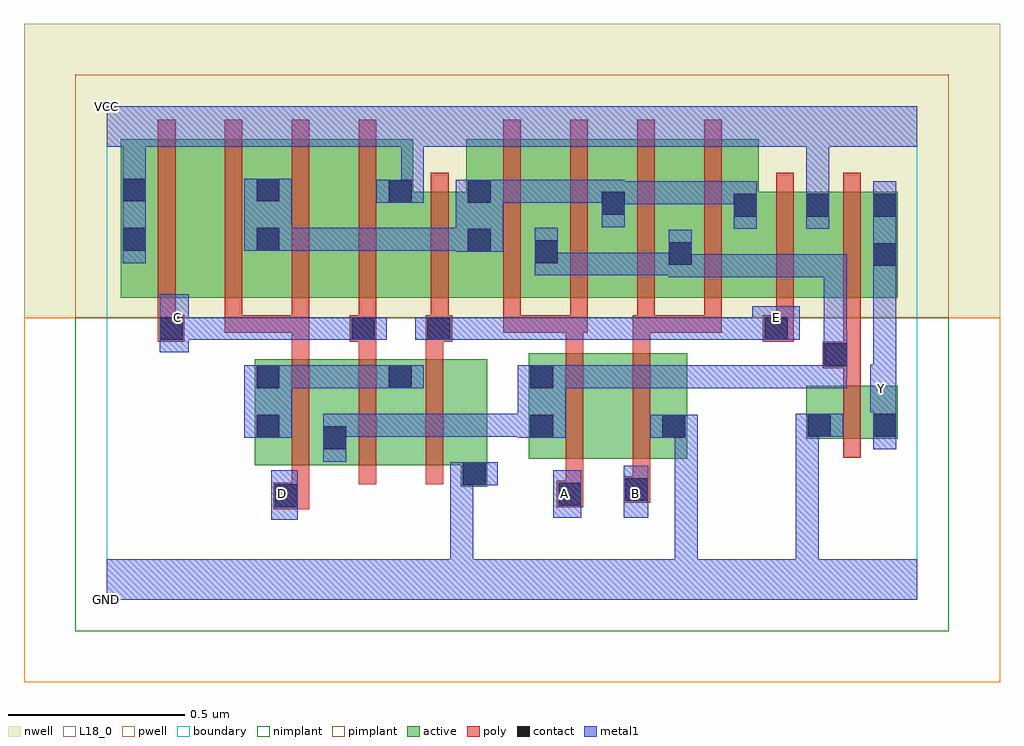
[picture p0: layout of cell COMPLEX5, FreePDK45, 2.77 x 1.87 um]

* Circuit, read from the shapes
.subckt COMPLEX5 A B C D E GND VCC Y
M1 n1 D n2 VSUBS nfet w=0.3u l=0.05u
M2 n2 C n1 VSUBS nfet w=0.3u l=0.05u
M3 GND E n2 VSUBS nfet w=0.3u l=0.05u
M4 n3 A n1 VSUBS nfet w=0.3u l=0.05u
M5 GND B n3 VSUBS nfet w=0.3u l=0.05u
M6 Y n1 GND VSUBS nfet w=0.15u l=0.05u
M7 n4 C VCC n5 pfet w=0.45u l=0.05u
M8 n6 D n4 n5 pfet w=0.45u l=0.05u
M9 n7 D n6 n5 pfet w=0.45u l=0.05u
M10 VCC C n7 n5 pfet w=0.45u l=0.05u
M11 n6 E VCC n5 pfet w=0.3u l=0.05u m=2
M12 n1 A n6 n5 pfet w=0.45u l=0.05u m=2
M13 n1 B n6 n5 pfet w=0.45u l=0.05u m=2
M14 Y n1 VCC n5 pfet w=0.3u l=0.05u
.ends

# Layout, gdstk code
import gdstk
lib = gdstk.Library(unit=1e-6, precision=1e-09)
def R(c, l, rs):  # rectangles x0, y0, x1, y1
    for r in rs: c.add(gdstk.rectangle(r[:2], r[2:], *l))
def A(c, l, x, y, w, h, nx, ny, dx, dy):  # array of equal rectangles
    R(c, l, [(x+i*dx, y+j*dy, x+i*dx+w, y+j*dy+h) for i in range(nx) for j in range(ny)])
active = (1, 0)
pwell = (2, 0)
nwell = (3, 0)
nimplant = (4, 0)
pimplant = (5, 0)
poly = (9, 0)
contact = (10, 0)
metal1 = (11, 0)
L18_0 = (18, 0)
boundary = (235, 0)

complex5 = lib.new_cell('COMPLEX5')
A(complex5, active, 1.02, 0.857, 0.265, 0.45, 3, 1, 0.19, 0)
R(complex5, active, [(1.005,0.32,1.08,0.405), (0.42,0.382,0.495,0.682), (0.42,0.382,0.685,0.682), (0.61,0.382,0.87,0.682), (0.61,0.382,0.685,0.547), (0.795,0.382,1.08,0.682), (0.795,0.382,0.87,0.67), (1.197,0.4,1.422,0.7), (1.197,0.4,1.272,0.7), (1.422,0.4,1.647,0.7), (1.572,0.4,1.647,0.625), (1.985,0.457,2.245,0.607), (1.985,0.457,2.06,0.547), (2.17,0.457,2.245,0.607), (0.04,0.857,0.265,1.307), (0.04,0.857,0.115,1.307), (0.265,0.857,0.495,1.307), (0.42,0.857,0.495,1.2), (0.42,0.857,0.645,1.307), (0.645,0.857,0.87,1.307), (0.795,0.857,1.095,1.157), (1.02,0.857,1.095,1.2), (1.21,0.857,1.285,1.07), (1.4,0.857,1.475,1.2), (1.59,0.857,1.85,1.307), (1.59,0.857,1.665,1.07), (1.775,0.857,2.055,1.157), (1.98,0.857,2.245,1.157), (2.17,0.857,2.245,1.157), (0.795,0.867,0.87,1.197), (1.775,1.007,1.85,1.2), (1.98,1.007,2.055,1.157)])
R(complex5, pwell, [(-0.235,-0.235,2.535,0.8)])
R(complex5, nwell, [(-0.235,0.8,2.535,1.635)])
R(complex5, nimplant, [(-0.09,-0.09,2.39,0.8)])
R(complex5, pimplant, [(-0.09,0.8,2.39,1.49)])
A(complex5, poly, 0.525, 0.327, 0.05, 0.41, 3, 1, 0.19, 0)
A(complex5, poly, 0.145, 0.757, 0.05, 0.095, 4, 1, 0.19, 0)
A(complex5, poly, 1.125, 0.757, 0.05, 0.095, 4, 1, 0.19, 0)
A(complex5, poly, 0.145, 0.802, 0.05, 0.56, 4, 1, 0.19, 0)
A(complex5, poly, 1.125, 0.802, 0.05, 0.56, 4, 1, 0.19, 0)
R(complex5, poly, [(0.472,0.257,0.575,0.332), (1.277,0.262,1.352,0.337), (1.467,0.275,1.542,0.35), (0.525,0.282,0.575,0.377), (1.302,0.287,1.352,0.395), (1.492,0.3,1.542,0.395), (1.302,0.345,1.352,0.755), (1.492,0.345,1.542,0.755), (2.09,0.402,2.14,0.662), (2.09,0.612,2.14,0.707), (2.032,0.657,2.14,0.732), (2.09,0.682,2.14,0.852), (0.525,0.687,0.575,0.807), (0.715,0.687,0.765,0.782), (0.905,0.687,0.955,0.782), (1.302,0.705,1.352,0.807), (1.492,0.705,1.542,0.807), (0.145,0.732,0.22,0.807), (0.69,0.732,0.765,0.807), (0.905,0.732,0.98,0.807), (1.862,0.732,1.95,0.807), (0.335,0.757,0.385,0.807), (0.335,0.757,0.575,0.807), (0.525,0.757,0.575,0.807), (0.525,0.757,0.575,0.807), (0.525,0.757,0.575,0.807), (0.92,0.757,0.97,0.852), (1.125,0.757,1.175,0.807), (1.125,0.757,1.352,0.807), (1.302,0.757,1.352,0.807), (1.302,0.757,1.352,0.807), (1.302,0.757,1.365,0.807), (1.492,0.757,1.555,0.807), (1.505,0.757,1.745,0.807), (1.695,0.757,1.745,0.807), (1.695,0.757,1.745,0.807), (1.695,0.757,1.745,0.807), (1.9,0.757,1.95,0.852), (0.92,0.802,0.97,1.212), (1.9,0.802,1.95,1.212), (2.09,0.802,2.14,1.212)])
R(complex5, contact, [(0.477,0.262,0.542,0.327), (1.282,0.267,1.347,0.332), (1.472,0.28,1.537,0.345), (1.01,0.325,1.075,0.39), (0.615,0.427,0.68,0.492), (0.425,0.46,0.49,0.525), (1.202,0.46,1.267,0.525), (1.577,0.46,1.642,0.525), (1.99,0.462,2.055,0.527), (2.175,0.462,2.24,0.527), (0.425,0.6,0.49,0.665), (0.8,0.6,0.865,0.665), (1.202,0.6,1.267,0.665), (2.037,0.662,2.102,0.727), (0.15,0.737,0.215,0.802), (0.695,0.737,0.76,0.802), (0.91,0.737,0.975,0.802), (1.867,0.737,1.932,0.802), (2.175,0.947,2.24,1.012), (1.595,0.95,1.66,1.015), (1.215,0.955,1.28,1.02), (1.025,0.987,1.09,1.052), (0.045,0.99,0.11,1.055), (0.425,0.99,0.49,1.055), (1.78,1.087,1.845,1.152), (1.985,1.087,2.05,1.152), (2.175,1.087,2.24,1.152), (1.405,1.092,1.47,1.157), (0.8,1.127,0.865,1.192), (1.025,1.127,1.09,1.192), (0.045,1.13,0.11,1.195), (0.425,1.13,0.49,1.195)])
R(complex5, metal1, [(0,0,2.3,0.115), (0.975,0.05,1.04,0.39), (1.612,0.05,1.677,0.115), (1.612,0.05,1.677,0.115), (1.612,0.05,1.677,0.115), (1.612,0.05,1.677,0.115), (1.612,0.05,1.677,0.115), (1.612,0.05,1.677,0.115), (1.612,0.05,1.677,0.525), (1.955,0.05,2.02,0.115), (1.955,0.05,2.02,0.115), (1.955,0.05,2.02,0.115), (1.955,0.05,2.02,0.115), (1.955,0.05,2.02,0.527), (0.467,0.227,0.542,0.367), (1.267,0.232,1.347,0.367), (1.467,0.232,1.537,0.38), (0.975,0.325,1.04,0.39), (0.975,0.325,1.04,0.39), (0.975,0.325,1.04,0.39), (0.975,0.325,1.04,0.39), (0.975,0.325,1.04,0.39), (0.975,0.325,1.04,0.39), (0.975,0.325,1.11,0.39), (0.615,0.392,0.68,0.527), (2.175,0.427,2.24,0.562), (0.39,0.46,0.525,0.665), (1.167,0.46,1.302,0.665), (1.542,0.46,1.677,0.525), (0.615,0.462,0.68,0.527), (0.615,0.462,0.68,0.527), (0.615,0.462,0.817,0.527), (0.752,0.462,0.817,0.527), (0.752,0.462,0.817,0.527), (0.752,0.462,0.817,0.527), (0.752,0.462,1.037,0.527), (0.972,0.462,1.037,0.527), (0.972,0.462,1.037,0.527), (0.972,0.462,1.037,0.527), (0.972,0.462,1.147,0.527), (1.082,0.462,1.147,0.527), (1.082,0.462,1.232,0.527), (1.955,0.462,2.02,0.527), (1.955,0.462,2.02,0.527), (1.955,0.462,2.02,0.527), (1.955,0.462,2.02,0.527), (1.955,0.462,2.09,0.527), (2.175,0.497,2.24,0.597), (2.167,0.532,2.24,0.667), (0.46,0.6,0.525,0.665), (0.46,0.6,0.525,0.665), (0.46,0.6,0.662,0.665), (0.597,0.6,0.662,0.665), (0.597,0.6,0.662,0.665), (0.597,0.6,0.662,0.665), (0.597,0.6,0.83,0.665), (0.765,0.6,0.9,0.665), (1.237,0.6,1.302,0.665), (1.237,0.6,1.302,0.665), (1.237,0.6,1.47,0.665), (1.405,0.6,1.47,0.665), (1.405,0.6,1.47,0.665), (1.405,0.6,1.47,0.665), (1.405,0.6,1.677,0.665), (1.612,0.6,1.677,0.665), (1.612,0.6,1.677,0.665), (1.612,0.6,1.677,0.665), (1.612,0.6,1.815,0.665), (1.75,0.6,1.815,0.665), (1.75,0.6,1.815,0.665), (1.75,0.6,1.815,0.665), (1.75,0.6,2.1,0.665), (2.035,0.6,2.1,0.665), (2.035,0.6,2.1,0.692), (2.175,0.602,2.24,0.977), (2.035,0.627,2.102,0.692), (2.035,0.627,2.1,0.692), (2.035,0.627,2.1,0.98), (2.037,0.627,2.102,0.762), (0.15,0.702,0.232,0.867), (0.167,0.737,0.232,0.802), (0.167,0.737,0.232,0.802), (0.167,0.737,0.37,0.802), (0.305,0.737,0.37,0.802), (0.305,0.737,0.507,0.802), (0.442,0.737,0.507,0.802), (0.442,0.737,0.507,0.802), (0.442,0.737,0.507,0.802), (0.442,0.737,0.662,0.802), (0.597,0.737,0.662,0.802), (0.597,0.737,0.725,0.802), (0.66,0.737,0.795,0.802), (0.875,0.737,1.01,0.802), (0.945,0.737,1.01,0.802), (0.945,0.737,1.01,0.802), (0.945,0.737,1.165,0.802), (1.1,0.737,1.165,0.802), (1.1,0.737,1.302,0.802), (1.237,0.737,1.302,0.802), (1.237,0.737,1.302,0.802), (1.237,0.737,1.302,0.802), (1.237,0.737,1.44,0.802), (1.375,0.737,1.44,0.802), (1.375,0.737,1.44,0.802), (1.375,0.737,1.44,0.802), (1.375,0.737,1.677,0.802), (1.612,0.737,1.677,0.802), (1.612,0.737,1.677,0.802), (1.612,0.737,1.677,0.802), (1.612,0.737,1.815,0.802), (1.75,0.737,1.815,0.802), (1.75,0.737,1.897,0.802), (1.832,0.737,1.967,0.832), (2.175,0.912,2.24,1.187), (1.595,0.915,1.66,1.05), (1.595,0.915,1.677,0.98), (1.612,0.915,1.677,0.98), (1.612,0.915,1.815,0.98), (1.75,0.915,1.815,0.98), (1.75,0.915,1.815,0.98), (1.75,0.915,1.815,0.98), (1.75,0.915,2.1,0.98), (2.035,0.915,2.1,0.98), (1.215,0.92,1.28,1.055), (1.215,0.92,1.302,0.985), (1.237,0.92,1.302,0.985), (1.237,0.92,1.44,0.985), (1.375,0.92,1.44,0.985), (1.375,0.92,1.44,0.985), (1.375,0.92,1.44,0.985), (1.375,0.92,1.66,0.985), (0.045,0.955,0.11,1.23), (0.99,0.987,1.125,1.192), (0.39,0.99,0.525,1.195), (0.46,0.99,0.525,1.055), (0.46,0.99,0.525,1.055), (0.46,0.99,0.68,1.055), (0.615,0.99,0.68,1.055), (0.615,0.99,0.68,1.055), (0.615,0.99,0.68,1.055), (0.615,0.99,0.817,1.055), (0.752,0.99,0.817,1.055), (0.752,0.99,0.817,1.055), (0.752,0.99,0.817,1.055), (0.752,0.99,1.055,1.055), (1.78,1.052,1.845,1.187), (1.985,1.052,2.05,1.187), (1.405,1.057,1.47,1.192), (1.405,1.122,1.47,1.187), (1.405,1.122,1.47,1.187), (1.405,1.122,1.675,1.187), (1.61,1.122,1.675,1.187), (1.61,1.122,1.675,1.187), (1.61,1.122,1.675,1.187), (1.61,1.122,1.845,1.187), (1.985,1.122,2.05,1.187), (1.985,1.122,2.05,1.187), (1.985,1.122,2.05,1.35), (0.765,1.127,0.9,1.192), (0.835,1.127,0.9,1.35), (1.03,1.127,1.095,1.192), (1.03,1.127,1.095,1.192), (1.03,1.127,1.165,1.192), (1.1,1.127,1.165,1.192), (1.1,1.127,1.302,1.192), (1.237,1.127,1.302,1.192), (1.237,1.127,1.302,1.192), (1.237,1.127,1.302,1.192), (1.237,1.127,1.47,1.192), (0.045,1.165,0.11,1.35), (0,1.285,2.3,1.4)])
R(complex5, L18_0, [(0,0,2.3,0.115), (0.975,0.05,1.04,0.39), (1.612,0.05,1.677,0.115), (1.612,0.05,1.677,0.115), (1.612,0.05,1.677,0.115), (1.612,0.05,1.677,0.115), (1.612,0.05,1.677,0.115), (1.612,0.05,1.677,0.115), (1.612,0.05,1.677,0.525), (1.955,0.05,2.02,0.115), (1.955,0.05,2.02,0.115), (1.955,0.05,2.02,0.115), (1.955,0.05,2.02,0.115), (1.955,0.05,2.02,0.527), (0.467,0.227,0.542,0.367), (1.267,0.232,1.347,0.367), (1.467,0.232,1.537,0.38), (0.467,0.267,0.532,0.332), (1.267,0.267,1.332,0.332), (1.467,0.267,1.532,0.332), (0.975,0.325,1.04,0.39), (0.975,0.325,1.04,0.39), (0.975,0.325,1.04,0.39), (0.975,0.325,1.04,0.39), (0.975,0.325,1.04,0.39), (0.975,0.325,1.04,0.39), (0.975,0.325,1.11,0.39), (2.175,0.427,2.24,0.562), (1.542,0.46,1.677,0.525), (1.955,0.462,2.02,0.527), (1.955,0.462,2.02,0.527), (1.955,0.462,2.02,0.527), (1.955,0.462,2.02,0.527), (1.955,0.462,2.09,0.527), (2.175,0.497,2.24,0.597), (2.167,0.532,2.24,0.667), (2.167,0.567,2.232,0.632), (2.175,0.602,2.24,0.977), (0.15,0.702,0.232,0.867), (0.167,0.737,0.232,0.802), (0.167,0.737,0.232,0.802), (0.167,0.737,0.37,0.802), (0.305,0.737,0.37,0.802), (0.305,0.737,0.507,0.802), (0.442,0.737,0.507,0.802), (0.442,0.737,0.507,0.802), (0.442,0.737,0.507,0.802), (0.442,0.737,0.662,0.802), (0.597,0.737,0.662,0.802), (0.597,0.737,0.725,0.802), (0.66,0.737,0.795,0.802), (0.875,0.737,1.01,0.802), (0.945,0.737,1.01,0.802), (0.945,0.737,1.01,0.802), (0.945,0.737,1.165,0.802), (1.1,0.737,1.165,0.802), (1.1,0.737,1.302,0.802), (1.237,0.737,1.302,0.802), (1.237,0.737,1.302,0.802), (1.237,0.737,1.302,0.802), (1.237,0.737,1.44,0.802), (1.375,0.737,1.44,0.802), (1.375,0.737,1.44,0.802), (1.375,0.737,1.44,0.802), (1.375,0.737,1.677,0.802), (1.612,0.737,1.677,0.802), (1.612,0.737,1.677,0.802), (1.612,0.737,1.677,0.802), (1.612,0.737,1.815,0.802), (1.75,0.737,1.815,0.802), (1.75,0.737,1.897,0.802), (1.832,0.737,1.967,0.832), (0.167,0.767,0.232,0.832), (1.867,0.767,1.932,0.832), (2.175,0.912,2.24,1.187), (0.045,0.955,0.11,1.23), (1.985,1.052,2.05,1.187), (1.985,1.122,2.05,1.187), (1.985,1.122,2.05,1.187), (1.985,1.122,2.05,1.35), (0.765,1.127,0.9,1.192), (0.835,1.127,0.9,1.35), (0.045,1.165,0.11,1.35), (0,1.285,2.3,1.4)])
R(complex5, boundary, [(0,0,2.3,1.4)])
complex5.add(gdstk.Label('A', (1.3,0.3), layer=11, texttype=0))
complex5.add(gdstk.Label('B', (1.5,0.3), layer=11, texttype=0))
complex5.add(gdstk.Label('C', (0.2,0.8), layer=11, texttype=0))
complex5.add(gdstk.Label('D', (0.5,0.3), layer=11, texttype=0))
complex5.add(gdstk.Label('E', (1.9,0.8), layer=11, texttype=0))
complex5.add(gdstk.Label('Y', (2.2,0.6), layer=11, texttype=0))
complex5.add(gdstk.Label('VCC', (0,1.4), layer=11, texttype=0))
complex5.add(gdstk.Label('GND', (0,0), layer=11, texttype=0))

lib.write_gds('COMPLEX5.gds')
